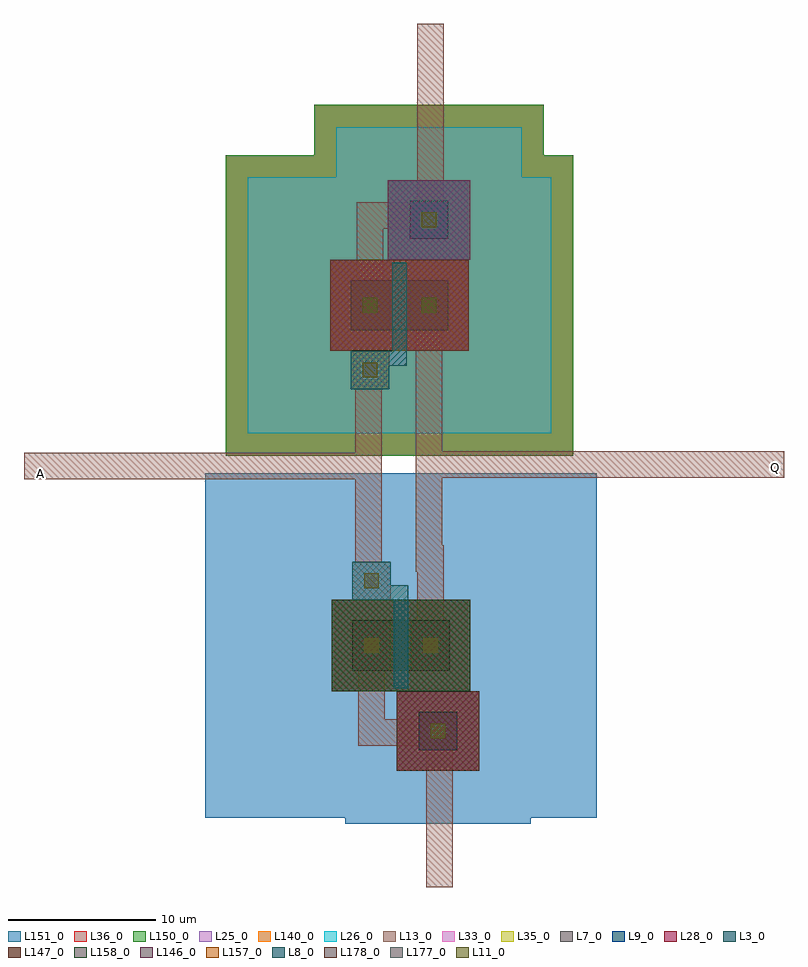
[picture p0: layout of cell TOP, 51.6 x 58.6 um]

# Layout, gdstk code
import gdstk
lib = gdstk.Library(unit=1e-6, precision=1e-07)
def R(c, l, rs):  # rectangles x0, y0, x1, y1
    for r in rs: c.add(gdstk.rectangle(r[:2], r[2:], *l))
L3_0 = (3, 0)
L7_0 = (7, 0)
L8_0 = (8, 0)
L9_0 = (9, 0)
L11_0 = (11, 0)
L13_0 = (13, 0)
L25_0 = (25, 0)
L26_0 = (26, 0)
L28_0 = (28, 0)
L33_0 = (33, 0)
L35_0 = (35, 0)
L36_0 = (36, 0)
L140_0 = (140, 0)
L146_0 = (146, 0)
L147_0 = (147, 0)
L150_0 = (150, 0)
L151_0 = (151, 0)
L157_0 = (157, 0)
L158_0 = (158, 0)
L177_0 = (177, 0)
L178_0 = (178, 0)

dcont = lib.new_cell('dcont')
R(dcont, L3_0, [(-1.3,-1.3,1.3,1.3)])
R(dcont, L11_0, [(-0.5,-0.5,0.5,0.5)])
R(dcont, L13_0, [(-1.3,-1.3,1.3,1.3), (-0.5,-0.5,0.5,0.5)])

pcont = lib.new_cell('pcont')
R(pcont, L8_0, [(-1.3,-1.3,1.3,1.3)])
R(pcont, L11_0, [(-0.5,-0.5,0.5,0.5)])
R(pcont, L13_0, [(-1.3,-1.3,1.3,1.3), (-0.5,-0.5,0.5,0.5)])

c_dcont = lib.new_cell('DCONT')
R(c_dcont, L3_0, [(-1.3,-1.3,1.3,1.3)])
R(c_dcont, L11_0, [(-0.5,-0.5,0.5,0.5)])
R(c_dcont, L13_0, [(-1.3,-1.3,1.3,1.3), (-0.5,-0.5,0.5,0.5)])

psubcont = lib.new_cell('psubcont')
R(psubcont, L7_0, [(-2.8,-2.7,2.8,2.7)])
R(psubcont, L28_0, [(-2.8,-2.7,2.8,2.7)])
R(psubcont, L33_0, [(-2.8,-2.7,2.8,2.7)])
R(psubcont, L35_0, [(-2.8,-2.7,2.8,2.7)])
R(psubcont, L151_0, [(-6.3,-6.3,6.3,6.3)])
R(psubcont, L178_0, [(-2.8,-2.7,2.8,2.7)])
psubcont.add(gdstk.Reference(c_dcont, (0,0)))

mn_1 = lib.new_cell('MN$1')
R(mn_1, L3_0, [(0,3.6,6.6,7)])
R(mn_1, L9_0, [(-1.4,2.2,8,8.4)])
R(mn_1, L33_0, [(-1.4,2.2,8,8.4)])
R(mn_1, L35_0, [(-1.4,2.2,8,8.4)])
R(mn_1, L147_0, [(-1.4,2.2,8,8.4)])
R(mn_1, L151_0, [(-10,-6.4,16.6,17)])
R(mn_1, L158_0, [(-1.4,2.2,8,8.4)])
mn_1.add(gdstk.FlexPath([(3.3,3.6),(3.3,7)], 1, ends=(1.2, 1.2), simple_path=True, layer=8, datatype=0))  # L8_0
mn_1.add(gdstk.FlexPath([(1.3,8.9),(3.3,8.9),(3.3,8.2)], 1, ends="flush", simple_path=True, layer=8, datatype=0))  # L8_0
mn_1.add(gdstk.FlexPath([(1.3,3.6),(1.3,7)], 2.6, ends="flush", simple_path=True, layer=13, datatype=0))  # L13_0
mn_1.add(gdstk.FlexPath([(5.3,3.6),(5.3,7)], 2.6, ends="flush", simple_path=True, layer=13, datatype=0))  # L13_0
mn_1.add(gdstk.FlexPath([(1.3,1.3),(1.3,4.6)], 1.8, ends="flush", simple_path=True, layer=13, datatype=0))  # L13_0
mn_1.add(gdstk.FlexPath([(5.3,6),(5.3,9.3)], 1.8, ends="flush", simple_path=True, layer=13, datatype=0))  # L13_0
mn_1.add(gdstk.Reference(dcont, (1.3,5.3)))
mn_1.add(gdstk.Reference(dcont, (5.3,5.3)))
mn_1.add(gdstk.Reference(pcont, (1.3,9.7)))
mn_1.add(gdstk.Reference(psubcont, (5.8,-0.5)))

nsubcont = lib.new_cell('nsubcont')
R(nsubcont, L7_0, [(-2.8,-2.7,2.8,2.7)])
R(nsubcont, L9_0, [(-2.8,-2.7,2.8,2.7)])
R(nsubcont, L25_0, [(-6.3,-6.3,6.3,6.3)])
R(nsubcont, L26_0, [(-6.3,-6.3,6.3,6.3)])
R(nsubcont, L33_0, [(-2.8,-2.7,2.8,2.7)])
R(nsubcont, L35_0, [(-2.8,-2.7,2.8,2.7)])
R(nsubcont, L36_0, [(-7.8,-7.8,7.8,7.8)])
R(nsubcont, L140_0, [(-6.3,-6.3,6.3,6.3)])
R(nsubcont, L150_0, [(-7.8,-7.8,7.8,7.8)])
R(nsubcont, L177_0, [(-2.8,-2.7,2.8,2.7)])
nsubcont.add(gdstk.Reference(c_dcont, (0,0)))

mp_1 = lib.new_cell('MP$1')
R(mp_1, L3_0, [(0,3.6,6.6,7)])
R(mp_1, L7_0, [(-1.4,2.2,8,8.4)])
R(mp_1, L25_0, [(-7,-3.4,13.6,14)])
R(mp_1, L26_0, [(-7,-3.4,13.6,14)])
R(mp_1, L28_0, [(-1.4,2.2,8,8.4)])
R(mp_1, L33_0, [(-1.4,2.2,8,8.4)])
R(mp_1, L36_0, [(-8.5,-4.9,15.1,15.5)])
R(mp_1, L140_0, [(-7,-3.4,13.6,14)])
R(mp_1, L146_0, [(-1.4,2.2,8,8.4)])
R(mp_1, L150_0, [(-8.5,-4.9,15.1,15.5)])
R(mp_1, L157_0, [(-1.4,2.2,8,8.4)])
mp_1.add(gdstk.FlexPath([(3.3,3.6),(3.3,7)], 1, ends=(1.2, 1.2), simple_path=True, layer=8, datatype=0))  # L8_0
mp_1.add(gdstk.FlexPath([(1.3,1.7),(3.3,1.7),(3.3,2.4)], 1, ends="flush", simple_path=True, layer=8, datatype=0))  # L8_0
mp_1.add(gdstk.FlexPath([(1.3,3.6),(1.3,7)], 2.6, ends="flush", simple_path=True, layer=13, datatype=0))  # L13_0
mp_1.add(gdstk.FlexPath([(5.3,3.6),(5.3,7)], 2.6, ends="flush", simple_path=True, layer=13, datatype=0))  # L13_0
mp_1.add(gdstk.FlexPath([(1.3,6),(1.3,9.3)], 1.8, ends="flush", simple_path=True, layer=13, datatype=0))  # L13_0
mp_1.add(gdstk.FlexPath([(5.3,1.3),(5.3,4.6)], 1.8, ends="flush", simple_path=True, layer=13, datatype=0))  # L13_0
mp_1.add(gdstk.Reference(dcont, (1.3,5.3)))
mp_1.add(gdstk.Reference(dcont, (5.3,5.3)))
mp_1.add(gdstk.Reference(pcont, (1.3,0.9)))
mp_1.add(gdstk.Reference(nsubcont, (5.3,11.1)))

top = lib.new_cell('TOP')
top.add(gdstk.FlexPath([(46.6,-24.4),(46.6,-34.9)], 1.8, ends="flush", simple_path=True, layer=13, datatype=0))  # L13_0
top.add(gdstk.FlexPath([(41.9,8.4),(41.9,10.7),(46,10.7),(46,10.7)], 1.8, ends="flush", simple_path=True, layer=13, datatype=0))  # L13_0
top.add(gdstk.FlexPath([(46,23.7),(46,9.8)], 1.8, ends="flush", simple_path=True, layer=13, datatype=0))  # L13_0
top.add(gdstk.FlexPath([(41.8,-0.9),(41.8,-13.2)], 1.8, ends="flush", simple_path=True, layer=13, datatype=0))  # L13_0
top.add(gdstk.FlexPath([(45.9,0.7),(45.9,-11),(45.9,-11)], 1.8, ends="flush", simple_path=True, layer=13, datatype=0))  # L13_0
top.add(gdstk.FlexPath([(42,-22.3),(42,-24.4),(47.4,-24.4)], 1.8, ends="flush", simple_path=True, layer=13, datatype=0))  # L13_0
top.add(gdstk.FlexPath([(41.8,-6.3),(18.4,-6.3)], 1.8, ends="flush", simple_path=True, layer=13, datatype=0))  # L13_0
top.add(gdstk.FlexPath([(45.9,-6.2),(70,-6.2)], 1.8, ends="flush", simple_path=True, layer=13, datatype=0))  # L13_0
top.add(gdstk.FlexPath([(46,-14.8),(46,-12.6),(45.9,-12.6),(45.9,-11)], 1.8, ends="flush", simple_path=True, layer=13, datatype=0))  # L13_0
top.add(gdstk.Reference(mn_1, (40.7,-23.8)))
top.add(gdstk.Reference(mp_1, (40.6,-0.7)))
top.add(gdstk.Label('A', (19.5,-6.8), layer=13, texttype=0))
top.add(gdstk.Label('Q', (69.4,-6.4), layer=13, texttype=0))

lib.write_gds('TOP.gds')
